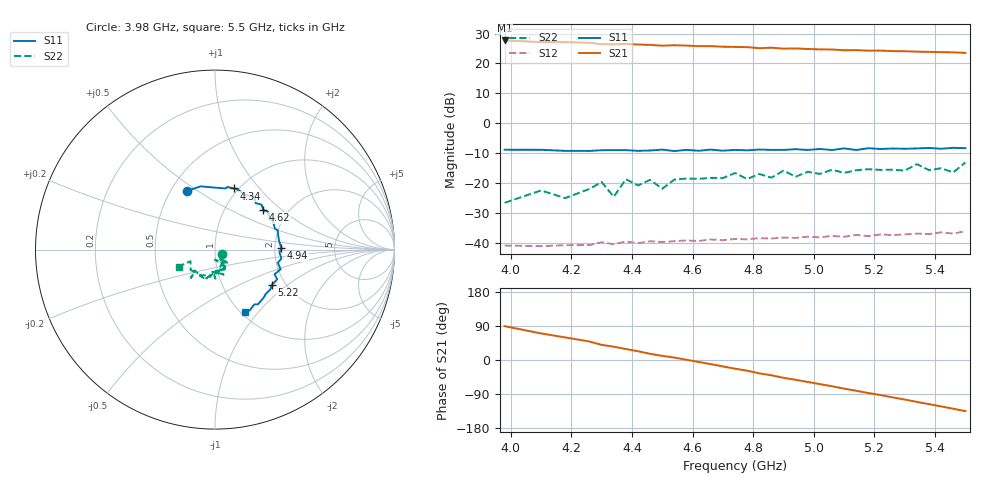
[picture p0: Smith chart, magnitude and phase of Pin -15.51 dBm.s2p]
! RsaToolbox (C) 2015 Rohde & Schwarz America
! Number of points: 35
! Number of ports: 2
! Balanced ports?: No
# Hz S RI R 50
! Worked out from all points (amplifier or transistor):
!   35 points, 3.98 GHz to 5.5 GHz, reference 50 ohm
!   highest |S21| = 27.7 dB at 3.98 GHz (marker M1)
!   |S21| within 3 dB of that: start of sweep to 5.036 GHz
!   unconditionally stable (mu >= 1): start of sweep to end of sweep
!   at 4.34 GHz: K = 2.25, MAG = 27.1 dB, |S12| = -40.4 dB
!   at 4.82 GHz: K = 2.01, MAG = 26.0 dB, |S12| = -38.4 dB
!   at 5.5 GHz: K = 1.76, MAG = 24.7 dB, |S12| = -36.0 dB
!   S11 on the Smith chart (normalised r, x): 3.98 GHz: 0.60, +0.45; 4.34 GHz: 0.96, +0.75; 4.62 GHz: 1.51, +0.76; 4.94 GHz: 2.17, +0.04; 5.22 GHz: 1.70, -0.78; 5.5 GHz: 1.05, -0.85
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3.98e9  -0.1583 0.3258  0.2881 24.25  0.00571 0.00707  0.0394 -0.0256
4.1e9  -0.0802 0.3524  7.723 21.43  0.00721 0.00515  0.03 -0.0693
4.18e9  -0.0117 0.3464  11.53 19.59  0.00823 0.0041  0.000198 -0.0564
4.26e9  0.0595 0.3407  14.61 16.71  0.00877 0.00293  0.03 -0.0744
4.3e9  0.0693 0.3487  16.11 13.47  0.01 0.00238  0.0764 -0.0712
4.34e9  0.1075 0.3406  17.14 12.07  0.00945 0.00147  0.0262 -0.0533
4.38e9  0.1346 0.3305  18.53 10.27  0.0106 0.000643  0.0521 -0.1043
4.46e9  0.1762 0.3044  19.62 5.737  0.0107 -0.00104  0.0573 -0.0982
4.5e9  0.2198 0.2905  19.48 3.766  0.0102 -0.00167  0.0435 -0.068
4.54e9  0.2274 0.2583  20.04 2.228  0.0104 -0.00272  0.0202 -0.1132
4.62e9  0.2688 0.221  19.39 -1.76  0.00978 -0.00464  0.0255 -0.1154
4.74e9  0.3223 0.1604  17.42 -7.337  0.00959 -0.00666  0.048 -0.1398
4.78e9  0.3338 0.1172  16.52 -8.873  0.00827 -0.00804  0.00889 -0.1172
4.82e9  0.3486 0.1084  14.71 -10.38  0.00862 -0.00844  0.0259 -0.1401
4.86e9  0.3551 0.059  14.01 -11.88  0.00715 -0.00949  -0.0148 -0.1226
4.94e9  0.3699 0.00708  10.93 -14.09  0.00591 -0.0107  -0.00723 -0.1281
5.02e9  0.3698 -0.0494  7.633 -15.41  0.00439 -0.0116  -0.0247 -0.1407
5.14e9  0.3313 -0.1373  2.567 -16.54  0.00093 -0.0136  -0.0833 -0.1418
5.22e9  0.3155 -0.1983  -0.7142 -16.4  -0.00112 -0.0139  -0.0839 -0.1442
5.26e9  0.3098 -0.2192  -2.407 -15.91  -0.00171 -0.0135  -0.0767 -0.1493
5.38e9  0.2401 -0.3042  -6.966 -13.99  -0.0056 -0.013  -0.1121 -0.1217
5.5e9  0.1678 -0.3465  -10.59 -10.67  -0.00908 -0.0129  -0.2013 -0.0943
